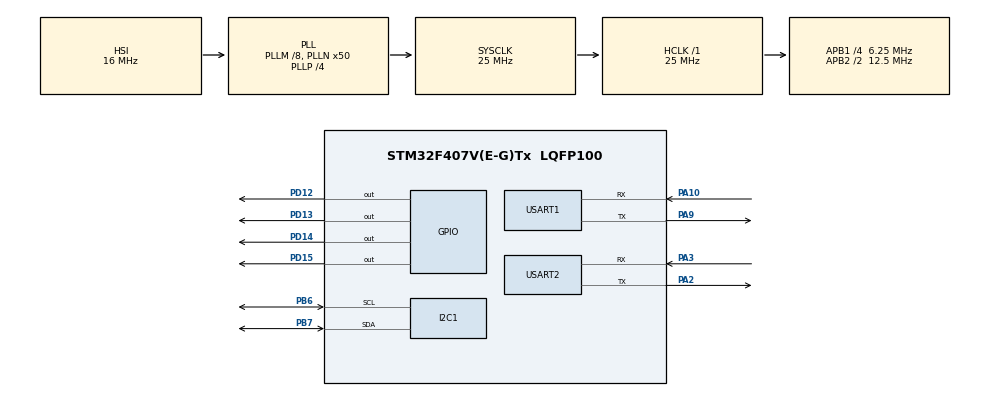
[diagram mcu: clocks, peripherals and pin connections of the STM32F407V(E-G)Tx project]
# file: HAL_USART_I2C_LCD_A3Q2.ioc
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Mcu.Family=STM32F4
Mcu.Name=STM32F407V(E-G)Tx
Mcu.Package=LQFP100
NVIC.PriorityGroup=NVIC_PRIORITYGROUP_0
PA10.Mode=Asynchronous
PA10.Signal=USART1_RX
PA2.Mode=Asynchronous
PA2.Signal=USART2_TX
PA3.Mode=Asynchronous
PA3.Signal=USART2_RX
PA9.Mode=Asynchronous
PA9.Signal=USART1_TX
PB6.Mode=I2C
PB6.Signal=I2C1_SCL
PB7.Mode=I2C
PB7.Signal=I2C1_SDA
PD12.Signal=GPIO_Output
PD13.Signal=GPIO_Output
PD14.Signal=GPIO_Output
PD15.Signal=GPIO_Output
ProjectManager.HeapSize=0x200
ProjectManager.StackSize=0x400
ProjectManager.TargetToolchain=STM32CubeIDE
RCC.48MHZClocksFreq_Value=14285714.285714285
RCC.AHBFreq_Value=25000000
RCC.APB1CLKDivider=RCC_HCLK_DIV4
RCC.APB1Freq_Value=6250000
RCC.APB1TimFreq_Value=12500000
RCC.APB2CLKDivider=RCC_HCLK_DIV2
RCC.APB2Freq_Value=12500000
RCC.APB2TimFreq_Value=25000000
RCC.CortexFreq_Value=25000000
RCC.HCLKFreq_Value=25000000
RCC.HSE_VALUE=8000000
RCC.HSI_VALUE=16000000
RCC.LSE_VALUE=32768
RCC.PLLM=8
RCC.PLLN=50
RCC.PLLP=RCC_PLLP_DIV4
RCC.PLLQ=7
RCC.SYSCLKFreq_VALUE=25000000
RCC.SYSCLKSource=RCC_SYSCLKSOURCE_PLLCLK
RCC.VCOOutputFreq_Value=100000000
USART1.VirtualMode=VM_ASYNC
USART2.VirtualMode=VM_ASYNC
board=STM32F407G-DISC1

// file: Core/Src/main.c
/* USER CODE BEGIN Header */
/**
  ******************************************************************************
  * @file           : main.c
  * @brief          : Main program body
  ******************************************************************************
  * @attention
  *
  * Copyright (c) 2026 STMicroelectronics.
  * All rights reserved.
  *
  * This software is licensed under terms that can be found in the LICENSE file
  * in the root directory of this software component.
  * If no LICENSE file comes with this software, it is provided AS-IS.
  *
  ******************************************************************************
  */
/* USER CODE END Header */
#include "main.h"

/* USER CODE BEGIN Includes */
#include<string.h>
#include"lcd.h"
/* USER CODE END Includes */

I2C_HandleTypeDef hi2c1;

UART_HandleTypeDef huart1;
UART_HandleTypeDef huart2;

void SystemClock_Config(void);
static void MX_GPIO_Init(void);
static void MX_I2C1_Init(void);
static void MX_USART1_UART_Init(void);
static void MX_USART2_UART_Init(void);
/* USER CODE BEGIN PFP */
void UART_Gets(char str[]) {
	char ch;
	for(int i=0; i<32; i++) {
		HAL_UART_Receive(&huart2, (uint8_t*)&ch, 1, HAL_MAX_DELAY);
		str[i] = ch;
		if(ch == '\r')
		{
			//str[++i] = '\n';
			str[i] = '\0';
			break;
		}
	}
}
/* USER CODE END PFP */

int main(void)
{

  /* MCU Configuration--------------------------------------------------------*/

  /* Reset of all peripherals, Initializes the Flash interface and the Systick. */
  HAL_Init();

  /* Configure the system clock */
  SystemClock_Config();

  /* Initialize all configured peripherals */
  MX_GPIO_Init();
  MX_I2C1_Init();
  MX_USART1_UART_Init();
  MX_USART2_UART_Init();
  /* USER CODE BEGIN 2 */

  lcd_puts(LCD_LINE1, "Hello");
  HAL_UART_Transmit(&huart2, (uint8_t*)"Enter Lin1 - L1 or Line2 - L2!\r\n", 34, HAL_MAX_DELAY);
  char str[100];
  //lcd_puts(LCD_LINE1, "L1 VAISHNAVI");
  //lcd_puts(LCD_LINE2, "VAISHNAVI KAKDE!");
  /* USER CODE END 2 */

  /* Infinite loop */
  /* USER CODE BEGIN WHILE */

  while (1)
  {
		  // receive a string from UART (polling)
	  		  HAL_UART_Transmit(&huart2, (uint8_t*)"Enter a string: \r\n", 18, HAL_MAX_DELAY);
	  		  UART_Gets(str);

	  		  if(strstr(str, "L1") != NULL)
	  		  {
	  			  lcd_puts(LCD_LINE1, &str[2]);
	  		  }
	  		  else if(strstr(str, "L2") != NULL)
	  		  {
	  			  lcd_puts(LCD_LINE2, &str[2]);
	  		  }

    /* USER CODE END WHILE */

  }
}

void SystemClock_Config(void)
{
  RCC_OscInitTypeDef RCC_OscInitStruct = {0};
  RCC_ClkInitTypeDef RCC_ClkInitStruct = {0};

  /** Configure the main internal regulator output voltage
  */
  __HAL_RCC_PWR_CLK_ENABLE();
  __HAL_PWR_VOLTAGESCALING_CONFIG(PWR_REGULATOR_VOLTAGE_SCALE1);

  /** Initializes the RCC Oscillators according to the specified parameters
  * in the RCC_OscInitTypeDef structure.
  */
  RCC_OscInitStruct.OscillatorType = RCC_OSCILLATORTYPE_HSI;
  RCC_OscInitStruct.HSIState = RCC_HSI_ON;
  RCC_OscInitStruct.HSICalibrationValue = RCC_HSICALIBRATION_DEFAULT;
  RCC_OscInitStruct.PLL.PLLState = RCC_PLL_ON;
  RCC_OscInitStruct.PLL.PLLSource = RCC_PLLSOURCE_HSI;
  RCC_OscInitStruct.PLL.PLLM = 8;
  RCC_OscInitStruct.PLL.PLLN = 50;
  RCC_OscInitStruct.PLL.PLLP = RCC_PLLP_DIV4;
  RCC_OscInitStruct.PLL.PLLQ = 7;
  if (HAL_RCC_OscConfig(&RCC_OscInitStruct) != HAL_OK)
  {
    Error_Handler();
  }

  /** Initializes the CPU, AHB and APB buses clocks
  */
  RCC_ClkInitStruct.ClockType = RCC_CLOCKTYPE_HCLK|RCC_CLOCKTYPE_SYSCLK
                              |RCC_CLOCKTYPE_PCLK1|RCC_CLOCKTYPE_PCLK2;
  RCC_ClkInitStruct.SYSCLKSource = RCC_SYSCLKSOURCE_PLLCLK;
  RCC_ClkInitStruct.AHBCLKDivider = RCC_SYSCLK_DIV1;
  RCC_ClkInitStruct.APB1CLKDivider = RCC_HCLK_DIV4;
  RCC_ClkInitStruct.APB2CLKDivider = RCC_HCLK_DIV2;

  if (HAL_RCC_ClockConfig(&RCC_ClkInitStruct, FLASH_LATENCY_0) != HAL_OK)
  {
    Error_Handler();
  }
}

static void MX_I2C1_Init(void)
{

  hi2c1.Instance = I2C1;
  hi2c1.Init.ClockSpeed = 100000;
  hi2c1.Init.DutyCycle = I2C_DUTYCYCLE_2;
  hi2c1.Init.OwnAddress1 = 0;
  hi2c1.Init.AddressingMode = I2C_ADDRESSINGMODE_7BIT;
  hi2c1.Init.DualAddressMode = I2C_DUALADDRESS_DISABLE;
  hi2c1.Init.OwnAddress2 = 0;
  hi2c1.Init.GeneralCallMode = I2C_GENERALCALL_DISABLE;
  hi2c1.Init.NoStretchMode = I2C_NOSTRETCH_DISABLE;
  if (HAL_I2C_Init(&hi2c1) != HAL_OK)
  {
    Error_Handler();
  }

}

static void MX_USART1_UART_Init(void)
{

  huart1.Instance = USART1;
  huart1.Init.BaudRate = 115200;
  huart1.Init.WordLength = UART_WORDLENGTH_8B;
  huart1.Init.StopBits = UART_STOPBITS_1;
  huart1.Init.Parity = UART_PARITY_NONE;
  huart1.Init.Mode = UART_MODE_TX_RX;
  huart1.Init.HwFlowCtl = UART_HWCONTROL_NONE;
  huart1.Init.OverSampling = UART_OVERSAMPLING_16;
  if (HAL_UART_Init(&huart1) != HAL_OK)
  {
    Error_Handler();
  }

}

static void MX_USART2_UART_Init(void)
{

  huart2.Instance = USART2;
  huart2.Init.BaudRate = 115200;
  huart2.Init.WordLength = UART_WORDLENGTH_8B;
  huart2.Init.StopBits = UART_STOPBITS_1;
  huart2.Init.Parity = UART_PARITY_NONE;
  huart2.Init.Mode = UART_MODE_TX_RX;
  huart2.Init.HwFlowCtl = UART_HWCONTROL_NONE;
  huart2.Init.OverSampling = UART_OVERSAMPLING_16;
  if (HAL_UART_Init(&huart2) != HAL_OK)
  {
    Error_Handler();
  }

}

static void MX_GPIO_Init(void)
{
  GPIO_InitTypeDef GPIO_InitStruct = {0};

  /* GPIO Ports Clock Enable */
  __HAL_RCC_GPIOA_CLK_ENABLE();
  __HAL_RCC_GPIOD_CLK_ENABLE();
  __HAL_RCC_GPIOB_CLK_ENABLE();

  /*Configure GPIO pin Output Level */
  HAL_GPIO_WritePin(GPIOD, GPIO_PIN_12|GPIO_PIN_13|GPIO_PIN_14|GPIO_PIN_15, GPIO_PIN_RESET);

  /*Configure GPIO pins : PD12 PD13 PD14 PD15 */
  GPIO_InitStruct.Pin = GPIO_PIN_12|GPIO_PIN_13|GPIO_PIN_14|GPIO_PIN_15;
  GPIO_InitStruct.Mode = GPIO_MODE_OUTPUT_PP;
  GPIO_InitStruct.Pull = GPIO_NOPULL;
  GPIO_InitStruct.Speed = GPIO_SPEED_FREQ_LOW;
  HAL_GPIO_Init(GPIOD, &GPIO_InitStruct);

}

void Error_Handler(void)
{
  __disable_irq();
  while (1)
  {
  }
}
